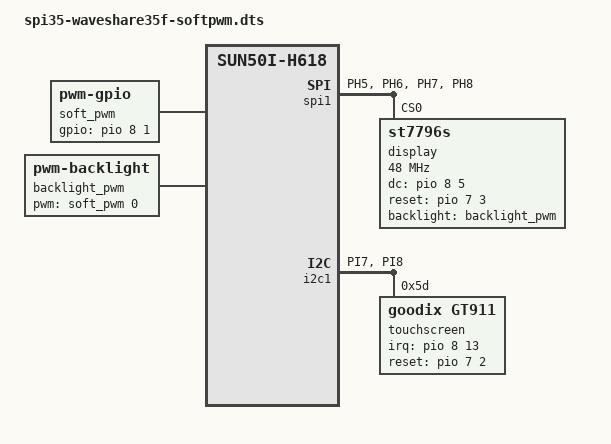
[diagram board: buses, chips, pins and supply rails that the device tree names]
/dts-v1/;
/plugin/;

/* Waveshare 3.5" RPi LCD (F): ST7796S on SPI1 + Goodix GT911 on I2C1, Orange Pi Zero 2W header,
   wired as on a Raspberry Pi. Numbers instead of #include: GPIO_ACTIVE_HIGH = 0, IRQ_TYPE_EDGE_FALLING = 2.
   GPIO cells on sunxi: <&pio BANK PIN FLAGS>, bank H = 7, I = 8. */

/ {
	compatible = "xunlong,orangepi-zero2w", "allwinner,sun50i-h618";

	fragment@0 {
		target = <&pio>;
		__overlay__ {
			spi35_spi1_pins: spi35-spi1-pins {
				pins = "PH5", "PH6", "PH7", "PH8";	/* CS0, CLK, MOSI, MISO: pins 24, 23, 19, 21 */
				function = "spi1";
			};
			spi35_i2c1_pins: spi35-i2c1-pins {
				pins = "PI7", "PI8";			/* SCL, SDA: pins 5, 3 */
				function = "i2c1";
				bias-pull-up;				/* the Pi has 1.8k pull-ups on board; see risk R3 */
			};
		};
	};

	fragment@1 {
		target-path = "/";
		__overlay__ {
			/* software PWM on header pin 12 (PI1, no hardware PWM on the H618): out-of-tree DKMS module pwm-gpio */
			soft_pwm: pwm-gpio {
				compatible = "pwm-gpio";
				#pwm-cells = <3>;
				gpios = <&pio 8 1 0>;
			};
			backlight_pwm: backlight_pwm {
				compatible = "pwm-backlight";
				pwms = <&soft_pwm 0 500000 0>;			/* 2 kHz */
				brightness-levels = <0 3 6 10 16 25 40 60 85 100>;
				default-brightness-level = <9>;
			};
		};
	};

	fragment@2 {
		target = <&spi1>;
		__overlay__ {
			pinctrl-names = "default";
			pinctrl-0 = <&spi35_spi1_pins>;
			#address-cells = <1>;
			#size-cells = <0>;
			status = "okay";

			display@0 {
				compatible = "st7796s", "panel-mipi-dbi-spi";	/* firmware: /lib/firmware/st7796s.bin */
				reg = <0>;					/* CS0 */
				spi-max-frequency = <48000000>;			/* Pi runs 48 MHz; start lower, see R4 */
				dc-gpios = <&pio 8 5 0>;			/* PI5, pin 15 */
				reset-gpios = <&pio 7 3 0>;			/* PH3, pin 13 (driver drives 0 = reset) */
				backlight = <&backlight_pwm>;
				width-mm = <49>;
				height-mm = <79>;

				panel-timing {
					hactive = <320>;
					vactive = <480>;
					hback-porch = <0>;
					vback-porch = <0>;
					clock-frequency = <0>;
					hfront-porch = <0>;
					hsync-len = <0>;
					vfront-porch = <0>;
					vsync-len = <0>;
				};
			};
		};
	};

	fragment@3 {
		target = <&i2c1>;
		__overlay__ {
			pinctrl-names = "default";
			pinctrl-0 = <&spi35_i2c1_pins>;
			#address-cells = <1>;
			#size-cells = <0>;
			status = "okay";

			touchscreen@5d {
				compatible = "goodix,gt911";
				reg = <0x5d>;
				interrupt-parent = <&pio>;
				interrupts = <8 13 2>;				/* PI13, pin 7, falling edge */
				irq-gpios = <&pio 8 13 0>;			/* PI13: also drives the address select at reset */
				reset-gpios = <&pio 7 2 0>;			/* PH2, pin 11 */
			};
		};
	};
};
